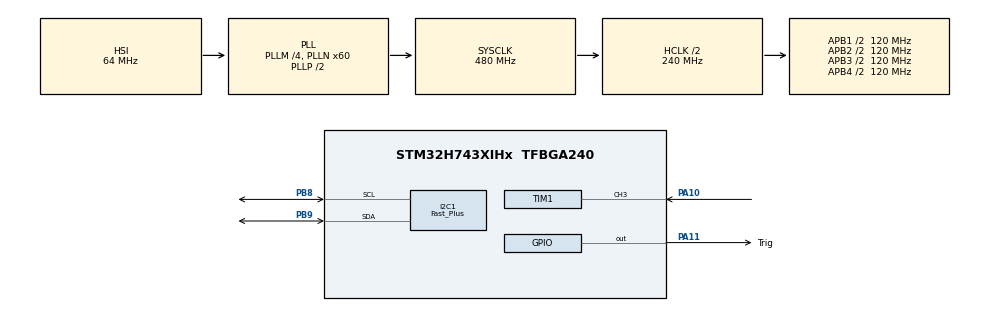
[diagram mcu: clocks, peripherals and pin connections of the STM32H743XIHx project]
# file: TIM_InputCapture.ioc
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CORTEX_M7.default_mode_Activation=1
I2C1.I2C_Speed_Mode=I2C_Fast_Plus
I2C1.Timing=0x0050174F
Mcu.Family=STM32H7
Mcu.Name=STM32H743XIHx
Mcu.Package=TFBGA240
NVIC.PriorityGroup=NVIC_PRIORITYGROUP_4
NVIC.TIM1_CC_IRQn=true\:0\:0\:false\:false\:true\:true\:true\:true
PA10.Signal=S_TIM1_CH3
PA11.GPIO_Label=Trig
PA11.Signal=GPIO_Output
PB8.Mode=I2C
PB8.Signal=I2C1_SCL
PB9.Mode=I2C
PB9.Signal=I2C1_SDA
PH0-OSC_IN\ (PH0).Mode=HSE-External-Oscillator
PH0-OSC_IN\ (PH0).Signal=RCC_OSC_IN
PH1-OSC_OUT\ (PH1).Mode=HSE-External-Oscillator
PH1-OSC_OUT\ (PH1).Signal=RCC_OSC_OUT
ProjectManager.HeapSize=0x200
ProjectManager.StackSize=0x400
ProjectManager.TargetToolchain=STM32CubeIDE
RCC.ADCFreq_Value=129000000
RCC.APB1Freq_Value=120000000
RCC.APB2Freq_Value=120000000
RCC.APB3Freq_Value=120000000
RCC.APB4Freq_Value=120000000
RCC.CortexFreq_Value=480000000
RCC.D1PPRE=RCC_APB3_DIV2
RCC.D2PPRE1=RCC_APB1_DIV2
RCC.D2PPRE2=RCC_APB2_DIV2
RCC.D3PPRE=RCC_APB4_DIV2
RCC.DIVM1=4
RCC.DIVN1=60
RCC.HCLKFreq_Value=240000000
RCC.HPRE=RCC_HCLK_DIV2
RCC.PLL2FRACN=0
RCC.PLL3FRACN=0
RCC.PLLFRACN=0
RCC.SYSCLKFreq_VALUE=480000000
RCC.SYSCLKSource=RCC_SYSCLKSOURCE_PLLCLK
RCC.USBFreq_Value=480000000
SH.S_TIM1_CH3.0=TIM1_CH3,Input_Capture3_from_TI3
TIM1.Channel-Input_Capture3_from_TI3=TIM_CHANNEL_3
TIM1.Channel-Input_Capture4_from_TI3_63=TIM_CHANNEL_4
TIM1.ICPolarity_CH4=TIM_INPUTCHANNELPOLARITY_FALLING
TIM1.Prescaler=240-1
VP_TIM1_VS_ClockSourceINT.Mode=Internal
VP_TIM1_VS_indirect_ch3.Mode=Input_Capture4_from_TI3_63
board=custom

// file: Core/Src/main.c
/* USER CODE BEGIN Header */
/**
  ******************************************************************************
  * @file           : main.c
  * @brief          : Main program body
  ******************************************************************************
  * @attention
  *
  * Copyright (c) 2024 STMicroelectronics.
  * All rights reserved.
  *
  * This software is licensed under terms that can be found in the LICENSE file
  * in the root directory of this software component.
  * If no LICENSE file comes with this software, it is provided AS-IS.
  *
  ******************************************************************************
  */
/* USER CODE END Header */
#include "main.h"
#include "i2c.h"
#include "tim.h"
#include "gpio.h"

/* USER CODE BEGIN Includes */

#include "oled.h"
#include <stdio.h>

/* USER CODE END Includes */

void SystemClock_Config(void);
static void MPU_Config(void);

/* USER CODE BEGIN 0 */

int UpEdge = 0;
int DownEdge = 0;
float distance = 0.0;
float sum = 0.0;

void HAL_TIM_IC_CaptureCallback(TIM_HandleTypeDef *htim)
{
	if(htim == &htim1 && htim->Channel == HAL_TIM_ACTIVE_CHANNEL_4)
	{
		UpEdge = HAL_TIM_ReadCapturedValue(htim, TIM_CHANNEL_3);
		DownEdge = HAL_TIM_ReadCapturedValue(htim, TIM_CHANNEL_4);
		distance = ((DownEdge - UpEdge) * 0.034) / 2;
	}
}

/* USER CODE END 0 */

int main(void)
{

  /* MPU Configuration--------------------------------------------------------*/
  MPU_Config();

  /* MCU Configuration--------------------------------------------------------*/

  /* Reset of all peripherals, Initializes the Flash interface and the Systick. */
  HAL_Init();

  /* Configure the system clock */
  SystemClock_Config();

  /* Initialize all configured peripherals */
  MX_GPIO_Init();
  MX_I2C1_Init();
  MX_TIM1_Init();
  /* USER CODE BEGIN 2 */

  HAL_Delay(20);
  OLED_Init();

  HAL_TIM_Base_Start(&htim1);
  HAL_TIM_IC_Start(&htim1, TIM_CHANNEL_3);
  HAL_TIM_IC_Start_IT(&htim1, TIM_CHANNEL_4);

  char message[20] = "";

  /* USER CODE END 2 */

  /* Infinite loop */
  /* USER CODE BEGIN WHILE */
  while (1)
  {
	  HAL_GPIO_WritePin(Trig_GPIO_Port, Trig_Pin, GPIO_PIN_SET);
	  HAL_Delay(1);
	  HAL_GPIO_WritePin(Trig_GPIO_Port, Trig_Pin, GPIO_PIN_RESET);

	  __HAL_TIM_SET_COUNTER(&htim1, 0);

	  HAL_Delay(20);

	  OLED_NewFrame();
	  sprintf(message, "Dist: %.2fcm", distance);
	  OLED_PrintString(0, 0, message, &font16x16, OLED_COLOR_NORMAL);
	  OLED_ShowFrame();

	  HAL_Delay(500);

    /* USER CODE END WHILE */

  }
}

void SystemClock_Config(void)
{
  RCC_OscInitTypeDef RCC_OscInitStruct = {0};
  RCC_ClkInitTypeDef RCC_ClkInitStruct = {0};

  /** Supply configuration update enable
  */
  HAL_PWREx_ConfigSupply(PWR_LDO_SUPPLY);

  /** Configure the main internal regulator output voltage
  */
  __HAL_PWR_VOLTAGESCALING_CONFIG(PWR_REGULATOR_VOLTAGE_SCALE1);

  while(!__HAL_PWR_GET_FLAG(PWR_FLAG_VOSRDY)) {}

  __HAL_RCC_SYSCFG_CLK_ENABLE();
  __HAL_PWR_VOLTAGESCALING_CONFIG(PWR_REGULATOR_VOLTAGE_SCALE0);

  while(!__HAL_PWR_GET_FLAG(PWR_FLAG_VOSRDY)) {}

  /** Initializes the RCC Oscillators according to the specified parameters
  * in the RCC_OscInitTypeDef structure.
  */
  RCC_OscInitStruct.OscillatorType = RCC_OSCILLATORTYPE_HSI;
  RCC_OscInitStruct.HSIState = RCC_HSI_DIV1;
  RCC_OscInitStruct.HSICalibrationValue = RCC_HSICALIBRATION_DEFAULT;
  RCC_OscInitStruct.PLL.PLLState = RCC_PLL_ON;
  RCC_OscInitStruct.PLL.PLLSource = RCC_PLLSOURCE_HSI;
  RCC_OscInitStruct.PLL.PLLM = 4;
  RCC_OscInitStruct.PLL.PLLN = 60;
  RCC_OscInitStruct.PLL.PLLP = 2;
  RCC_OscInitStruct.PLL.PLLQ = 2;
  RCC_OscInitStruct.PLL.PLLR = 2;
  RCC_OscInitStruct.PLL.PLLRGE = RCC_PLL1VCIRANGE_3;
  RCC_OscInitStruct.PLL.PLLVCOSEL = RCC_PLL1VCOWIDE;
  RCC_OscInitStruct.PLL.PLLFRACN = 0;
  if (HAL_RCC_OscConfig(&RCC_OscInitStruct) != HAL_OK)
  {
    Error_Handler();
  }

  /** Initializes the CPU, AHB and APB buses clocks
  */
  RCC_ClkInitStruct.ClockType = RCC_CLOCKTYPE_HCLK|RCC_CLOCKTYPE_SYSCLK
                              |RCC_CLOCKTYPE_PCLK1|RCC_CLOCKTYPE_PCLK2
                              |RCC_CLOCKTYPE_D3PCLK1|RCC_CLOCKTYPE_D1PCLK1;
  RCC_ClkInitStruct.SYSCLKSource = RCC_SYSCLKSOURCE_PLLCLK;
  RCC_ClkInitStruct.SYSCLKDivider = RCC_SYSCLK_DIV1;
  RCC_ClkInitStruct.AHBCLKDivider = RCC_HCLK_DIV2;
  RCC_ClkInitStruct.APB3CLKDivider = RCC_APB3_DIV2;
  RCC_ClkInitStruct.APB1CLKDivider = RCC_APB1_DIV2;
  RCC_ClkInitStruct.APB2CLKDivider = RCC_APB2_DIV2;
  RCC_ClkInitStruct.APB4CLKDivider = RCC_APB4_DIV2;

  if (HAL_RCC_ClockConfig(&RCC_ClkInitStruct, FLASH_LATENCY_4) != HAL_OK)
  {
    Error_Handler();
  }
}

 /* MPU Configuration */

void MPU_Config(void)
{
  MPU_Region_InitTypeDef MPU_InitStruct = {0};

  /* Disables the MPU */
  HAL_MPU_Disable();

  /** Initializes and configures the Region and the memory to be protected
  */
  MPU_InitStruct.Enable = MPU_REGION_ENABLE;
  MPU_InitStruct.Number = MPU_REGION_NUMBER0;
  MPU_InitStruct.BaseAddress = 0x0;
  MPU_InitStruct.Size = MPU_REGION_SIZE_4GB;
  MPU_InitStruct.SubRegionDisable = 0x87;
  MPU_InitStruct.TypeExtField = MPU_TEX_LEVEL0;
  MPU_InitStruct.AccessPermission = MPU_REGION_NO_ACCESS;
  MPU_InitStruct.DisableExec = MPU_INSTRUCTION_ACCESS_DISABLE;
  MPU_InitStruct.IsShareable = MPU_ACCESS_SHAREABLE;
  MPU_InitStruct.IsCacheable = MPU_ACCESS_NOT_CACHEABLE;
  MPU_InitStruct.IsBufferable = MPU_ACCESS_NOT_BUFFERABLE;

  HAL_MPU_ConfigRegion(&MPU_InitStruct);
  /* Enables the MPU */
  HAL_MPU_Enable(MPU_PRIVILEGED_DEFAULT);

}

void Error_Handler(void)
{
  __disable_irq();
  while (1)
  {
  }
}
